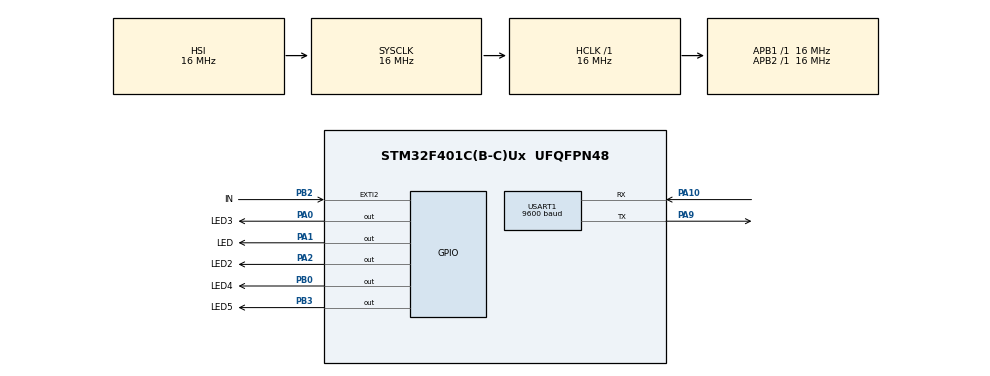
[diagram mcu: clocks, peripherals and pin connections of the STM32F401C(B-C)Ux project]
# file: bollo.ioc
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Dma.Request0=USART1_RX
Dma.USART1_RX.0.Direction=DMA_PERIPH_TO_MEMORY
Dma.USART1_RX.0.FIFOMode=DMA_FIFOMODE_DISABLE
Dma.USART1_RX.0.Instance=DMA2_Stream2
Dma.USART1_RX.0.MemDataAlignment=DMA_MDATAALIGN_BYTE
Dma.USART1_RX.0.MemInc=DMA_MINC_ENABLE
Dma.USART1_RX.0.Mode=DMA_NORMAL
Dma.USART1_RX.0.PeriphDataAlignment=DMA_PDATAALIGN_BYTE
Dma.USART1_RX.0.PeriphInc=DMA_PINC_DISABLE
Dma.USART1_RX.0.Priority=DMA_PRIORITY_LOW
Mcu.Family=STM32F4
Mcu.Name=STM32F401C(B-C)Ux
Mcu.Package=UFQFPN48
NVIC.DMA2_Stream2_IRQn=true\:0\:0\:false\:false\:true\:false\:true\:true
NVIC.EXTI2_IRQn=true\:0\:0\:false\:false\:true\:true\:true\:true
NVIC.PriorityGroup=NVIC_PRIORITYGROUP_2
NVIC.TIM1_UP_TIM10_IRQn=true\:3\:0\:true\:false\:true\:true\:true\:true
NVIC.USART1_IRQn=true\:0\:0\:false\:false\:true\:true\:true\:true
PA0-WKUP.GPIO_Label=LED3
PA0-WKUP.Signal=GPIO_Output
PA1.GPIO_Label=LED
PA1.Signal=GPIO_Output
PA10.Mode=Asynchronous
PA10.Signal=USART1_RX
PA2.GPIO_Label=LED2
PA2.Signal=GPIO_Output
PA9.Mode=Asynchronous
PA9.Signal=USART1_TX
PB0.GPIO_Label=LED4
PB0.Signal=GPIO_Output
PB2.GPIO_Label=IN
PB2.GPIO_ModeDefaultEXTI=GPIO_MODE_IT_FALLING
PB2.GPIO_PuPd=GPIO_PULLUP
PB2.Signal=GPXTI2
PB3.GPIO_Label=LED5
PB3.Signal=GPIO_Output
ProjectManager.HeapSize=0x200
ProjectManager.StackSize=0x400
ProjectManager.TargetToolchain=CMake
RCC.AHBFreq_Value=16000000
RCC.APB1Freq_Value=16000000
RCC.APB2Freq_Value=16000000
RCC.CortexFreq_Value=16000000
RCC.HSE_VALUE=25000000
RCC.HSI_VALUE=16000000
RCC.LSE_VALUE=32768
RCC.SYSCLKFreq_VALUE=16000000
RCC.VCOOutputFreq_Value=192000000
TIM1.AutoReloadPreload=TIM_AUTORELOAD_PRELOAD_ENABLE
TIM1.Period=100-1
TIM1.Prescaler=16000-1
USART1.BaudRate=9600
USART1.VirtualMode=VM_ASYNC
VP_TIM1_VS_ClockSourceINT.Mode=Internal
board=custom

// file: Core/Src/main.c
/* USER CODE BEGIN Header */
/**
  ******************************************************************************
  * @file           : main.c
  * @brief          : Main program body
  ******************************************************************************
  * @attention
  *
  * Copyright (c) 2026 STMicroelectronics.
  * All rights reserved.
  *
  * This software is licensed under terms that can be found in the LICENSE file
  * in the root directory of this software component.
  * If no LICENSE file comes with this software, it is provided AS-IS.
  *
  ******************************************************************************
  */
/* USER CODE END Header */
#include "main.h"

/* USER CODE BEGIN Includes */
#include "stdint.h"
#include "stdio.h"
#include "string.h"
#include "stdlib.h"
#include "UARTRX.h"
#include "uart.h"
/* USER CODE END Includes */

TIM_HandleTypeDef htim1;

UART_HandleTypeDef huart1;
DMA_HandleTypeDef hdma_usart1_rx;

void SystemClock_Config(void);
static void MX_GPIO_Init(void);
static void MX_DMA_Init(void);
static void MX_TIM1_Init(void);
static void MX_USART1_UART_Init(void);

/* USER CODE BEGIN 0 */
void procesa_rx(void)
{
  char comando[100];
  uint16_t n = UARTRX1.num_datos;

  if (n >= sizeof(comando))
  {
    return;
  }

  memcpy(comando, UARTRX1.trama_rx, n);
  comando[n] = '\0';

  while (n > 0 && (comando[n - 1] == '\r' || comando[n - 1] == '\n'))
  {
    comando[--n] = '\0';
  }

  if (strcmp(comando, "LED=ON") == 0)
  {
    HAL_GPIO_WritePin(LED5_GPIO_Port, LED5_Pin, GPIO_PIN_SET);
  }
  else if (strcmp(comando, "LED=OFF") == 0)
  {
    HAL_GPIO_WritePin(LED5_GPIO_Port, LED5_Pin, GPIO_PIN_RESET);
  }
}
/* USER CODE END 0 */

int main(void)
{

  /* MCU Configuration--------------------------------------------------------*/

  /* Reset of all peripherals, Initializes the Flash interface and the Systick. */
  HAL_Init();

  /* Configure the system clock */
  SystemClock_Config();

  /* Initialize all configured peripherals */
  MX_GPIO_Init();
  MX_DMA_Init();
  MX_TIM1_Init();
  MX_USART1_UART_Init();
  /* USER CODE BEGIN 2 */
  HAL_TIM_Base_Start_IT(&htim1);
  uartRX_it_idle_dma_init( &UARTRX1);

  /* USER CODE END 2 */

  /* Infinite loop */
  /* USER CODE BEGIN WHILE */
  while (1)
  {
    HAL_GPIO_TogglePin(LED_GPIO_Port, LED_Pin);
    HAL_Delay(200);
    if (UARTRX1.flag_rx==1)
	  {
	      uartx_write_text(&huart1, UARTRX1.trama_rx);
	      //procesa_rx(); //procedimeinto donde se procesan los datos
        procesa_rx();
		  uartRX_DMA_Re_init(&UARTRX1);

	  }
    /* USER CODE END WHILE */

  }
}

void SystemClock_Config(void)
{
  RCC_OscInitTypeDef RCC_OscInitStruct = {0};
  RCC_ClkInitTypeDef RCC_ClkInitStruct = {0};

  /** Configure the main internal regulator output voltage
  */
  __HAL_RCC_PWR_CLK_ENABLE();
  __HAL_PWR_VOLTAGESCALING_CONFIG(PWR_REGULATOR_VOLTAGE_SCALE2);

  /** Initializes the RCC Oscillators according to the specified parameters
  * in the RCC_OscInitTypeDef structure.
  */
  RCC_OscInitStruct.OscillatorType = RCC_OSCILLATORTYPE_HSI;
  RCC_OscInitStruct.HSIState = RCC_HSI_ON;
  RCC_OscInitStruct.HSICalibrationValue = RCC_HSICALIBRATION_DEFAULT;
  RCC_OscInitStruct.PLL.PLLState = RCC_PLL_NONE;
  if (HAL_RCC_OscConfig(&RCC_OscInitStruct) != HAL_OK)
  {
    Error_Handler();
  }

  /** Initializes the CPU, AHB and APB buses clocks
  */
  RCC_ClkInitStruct.ClockType = RCC_CLOCKTYPE_HCLK|RCC_CLOCKTYPE_SYSCLK
                              |RCC_CLOCKTYPE_PCLK1|RCC_CLOCKTYPE_PCLK2;
  RCC_ClkInitStruct.SYSCLKSource = RCC_SYSCLKSOURCE_HSI;
  RCC_ClkInitStruct.AHBCLKDivider = RCC_SYSCLK_DIV1;
  RCC_ClkInitStruct.APB1CLKDivider = RCC_HCLK_DIV1;
  RCC_ClkInitStruct.APB2CLKDivider = RCC_HCLK_DIV1;

  if (HAL_RCC_ClockConfig(&RCC_ClkInitStruct, FLASH_LATENCY_0) != HAL_OK)
  {
    Error_Handler();
  }
}

static void MX_TIM1_Init(void)
{

  TIM_ClockConfigTypeDef sClockSourceConfig = {0};
  TIM_MasterConfigTypeDef sMasterConfig = {0};

  htim1.Instance = TIM1;
  htim1.Init.Prescaler = 16000-1;
  htim1.Init.CounterMode = TIM_COUNTERMODE_UP;
  htim1.Init.Period = 100-1;
  htim1.Init.ClockDivision = TIM_CLOCKDIVISION_DIV1;
  htim1.Init.RepetitionCounter = 0;
  htim1.Init.AutoReloadPreload = TIM_AUTORELOAD_PRELOAD_ENABLE;
  if (HAL_TIM_Base_Init(&htim1) != HAL_OK)
  {
    Error_Handler();
  }
  sClockSourceConfig.ClockSource = TIM_CLOCKSOURCE_INTERNAL;
  if (HAL_TIM_ConfigClockSource(&htim1, &sClockSourceConfig) != HAL_OK)
  {
    Error_Handler();
  }
  sMasterConfig.MasterOutputTrigger = TIM_TRGO_RESET;
  sMasterConfig.MasterSlaveMode = TIM_MASTERSLAVEMODE_DISABLE;
  if (HAL_TIMEx_MasterConfigSynchronization(&htim1, &sMasterConfig) != HAL_OK)
  {
    Error_Handler();
  }

}

static void MX_USART1_UART_Init(void)
{

  huart1.Instance = USART1;
  huart1.Init.BaudRate = 9600;
  huart1.Init.WordLength = UART_WORDLENGTH_8B;
  huart1.Init.StopBits = UART_STOPBITS_1;
  huart1.Init.Parity = UART_PARITY_NONE;
  huart1.Init.Mode = UART_MODE_TX_RX;
  huart1.Init.HwFlowCtl = UART_HWCONTROL_NONE;
  huart1.Init.OverSampling = UART_OVERSAMPLING_16;
  if (HAL_UART_Init(&huart1) != HAL_OK)
  {
    Error_Handler();
  }

}

static void MX_DMA_Init(void)
{

  /* DMA controller clock enable */
  __HAL_RCC_DMA2_CLK_ENABLE();

  /* DMA interrupt init */
  /* DMA2_Stream2_IRQn interrupt configuration */
  HAL_NVIC_SetPriority(DMA2_Stream2_IRQn, 0, 0);
  HAL_NVIC_EnableIRQ(DMA2_Stream2_IRQn);

}

static void MX_GPIO_Init(void)
{
  GPIO_InitTypeDef GPIO_InitStruct = {0};

  /* GPIO Ports Clock Enable */
  __HAL_RCC_GPIOA_CLK_ENABLE();
  __HAL_RCC_GPIOB_CLK_ENABLE();

  /*Configure GPIO pin Output Level */
  HAL_GPIO_WritePin(GPIOA, LED3_Pin|LED_Pin|LED2_Pin, GPIO_PIN_RESET);

  /*Configure GPIO pin Output Level */
  HAL_GPIO_WritePin(GPIOB, LED4_Pin|LED5_Pin, GPIO_PIN_RESET);

  /*Configure GPIO pins : LED3_Pin LED_Pin LED2_Pin */
  GPIO_InitStruct.Pin = LED3_Pin|LED_Pin|LED2_Pin;
  GPIO_InitStruct.Mode = GPIO_MODE_OUTPUT_PP;
  GPIO_InitStruct.Pull = GPIO_NOPULL;
  GPIO_InitStruct.Speed = GPIO_SPEED_FREQ_LOW;
  HAL_GPIO_Init(GPIOA, &GPIO_InitStruct);

  /*Configure GPIO pins : LED4_Pin LED5_Pin */
  GPIO_InitStruct.Pin = LED4_Pin|LED5_Pin;
  GPIO_InitStruct.Mode = GPIO_MODE_OUTPUT_PP;
  GPIO_InitStruct.Pull = GPIO_NOPULL;
  GPIO_InitStruct.Speed = GPIO_SPEED_FREQ_LOW;
  HAL_GPIO_Init(GPIOB, &GPIO_InitStruct);

  /*Configure GPIO pin : IN_Pin */
  GPIO_InitStruct.Pin = IN_Pin;
  GPIO_InitStruct.Mode = GPIO_MODE_IT_FALLING;
  GPIO_InitStruct.Pull = GPIO_PULLUP;
  HAL_GPIO_Init(IN_GPIO_Port, &GPIO_InitStruct);

  /* EXTI interrupt init*/
  HAL_NVIC_SetPriority(EXTI2_IRQn, 0, 0);
  HAL_NVIC_EnableIRQ(EXTI2_IRQn);

}

void Error_Handler(void)
{
  __disable_irq();
  while (1)
  {
  }
}
